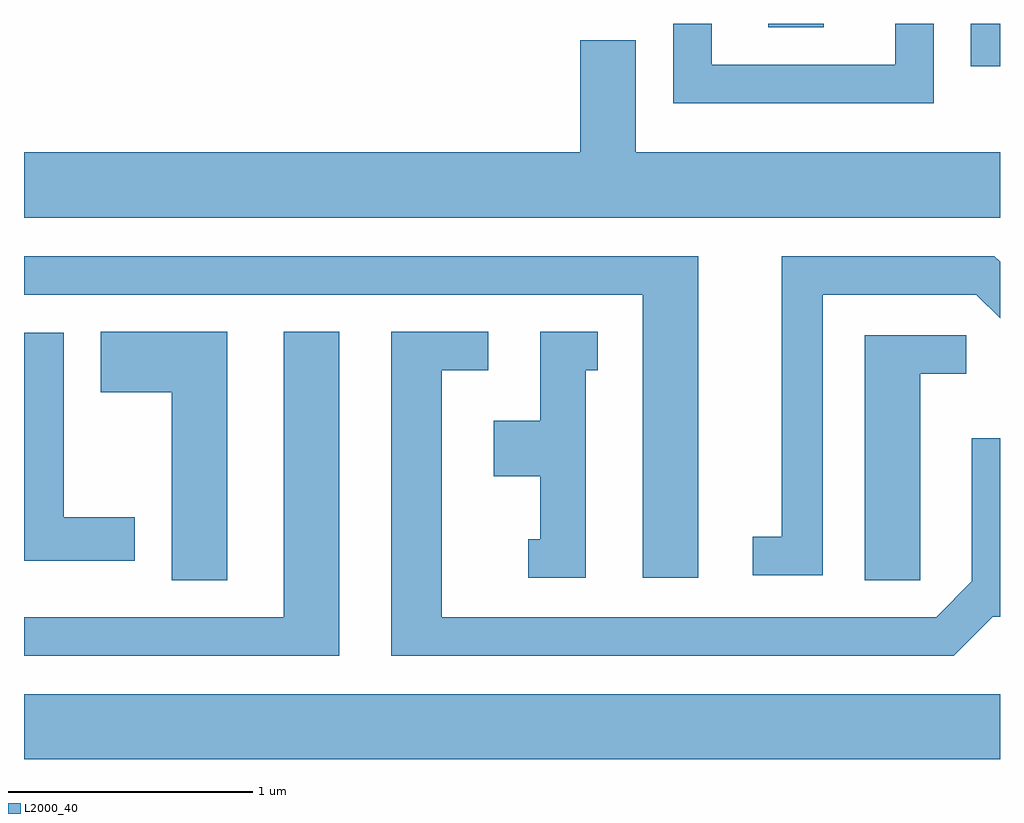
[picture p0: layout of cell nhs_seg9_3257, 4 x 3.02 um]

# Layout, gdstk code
import gdstk
lib = gdstk.Library(unit=1e-6, precision=1e-09)
def R(c, l, rs):  # rectangles x0, y0, x1, y1
    for r in rs: c.add(gdstk.rectangle(r[:2], r[2:], *l))
def P(c, l, *ps):  # polygons
    for p in ps: c.add(gdstk.Polygon(p, *l))
L2000_40 = (2000, 40)

nhs_seg9_3257 = lib.new_cell('nhs_seg9_3257')
R(nhs_seg9_3257, L2000_40, [(281.611,1947.416,285.611,1947.684), (285.491,1950.256,285.611,1950.432), (284.661,1950.416,284.889,1950.432)])
P(nhs_seg9_3257, L2000_40, [(285.339,1950.432),(285.181,1950.432),(285.181,1950.264),(284.429,1950.264),(284.429,1950.432),(284.271,1950.432),(284.271,1950.106),(285.339,1950.106)],
  [(285.611,1949.904),(284.119,1949.904),(284.119,1950.364),(283.891,1950.364),(283.891,1949.904),(281.611,1949.904),(281.611,1949.636),(285.611,1949.636)],
  [(284.374,1949.479),(281.611,1949.479),(281.611,1949.321),(284.146,1949.321),(284.146,1948.161),(284.374,1948.161)],
  [(284.884,1949.321),(285.514,1949.321),(285.611,1949.224),(285.611,1949.455),(285.587,1949.479),(284.716,1949.479),(284.716,1948.329),(284.598,1948.329),(284.598,1948.171),(284.884,1948.171)],
  [(282.904,1949.169),(282.676,1949.169),(282.676,1947.999),(281.611,1947.999),(281.611,1947.841),(282.904,1947.841)],
  [(282.444,1949.169),(281.926,1949.169),(281.926,1948.921),(282.216,1948.921),(282.216,1948.151),(282.444,1948.151)],
  [(285.582,1948.001),(285.611,1948.001),(285.611,1948.733),(285.496,1948.733),(285.496,1948.147),(285.349,1947.999),(283.324,1947.999),(283.324,1949.011),(283.513,1949.011),(283.513,1949.169),(283.116,1949.169),(283.116,1947.841),(285.422,1947.841)],
  [(283.914,1949.011),(283.963,1949.011),(283.963,1949.169),(283.726,1949.169),(283.726,1948.804),(283.536,1948.804),(283.536,1948.576),(283.726,1948.576),(283.726,1948.319),(283.678,1948.319),(283.678,1948.161),(283.914,1948.161)],
  [(282.064,1948.409),(281.774,1948.409),(281.774,1949.164),(281.611,1949.164),(281.611,1948.231),(282.064,1948.231)],
  [(285.284,1948.996),(285.473,1948.996),(285.473,1949.154),(285.056,1949.154),(285.056,1948.151),(285.284,1948.151)])

lib.write_gds('nhs_seg9_3257.gds')
